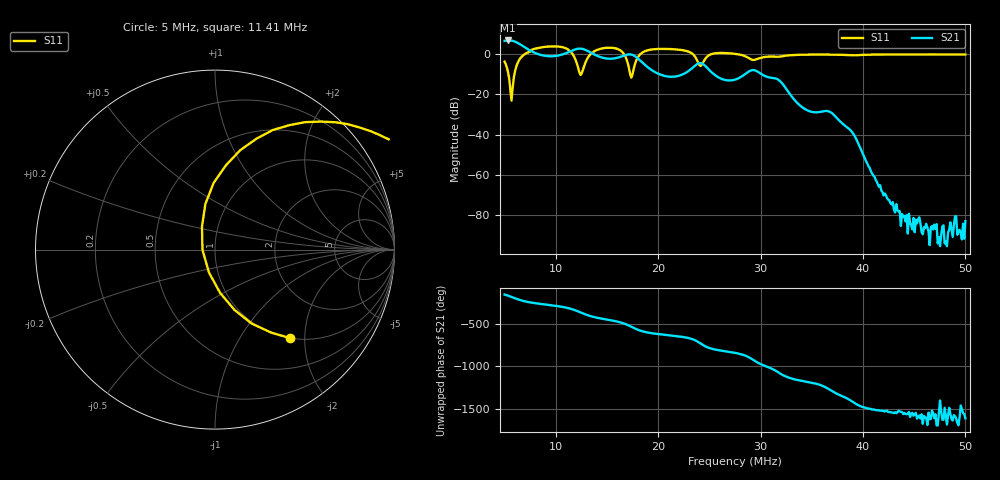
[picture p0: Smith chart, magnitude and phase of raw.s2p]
! S11/S21 only; reverse parameters are placeholders. Device calibration unverified.
! NanoVNA F V2 profile | COM3 | 2026-09-08T12:25:06.9744608-04:00 | device calibration unverified
# HZ S RI R 50
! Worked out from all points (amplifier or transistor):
!   401 points, 5 MHz to 50 MHz, reference 50 ohm
!   highest |S21| = 6.8 dB at 5.338 MHz (marker M1)
!   |S21| within 3 dB of that: start of sweep to 6.848 MHz
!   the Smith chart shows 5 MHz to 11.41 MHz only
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5000000  0.4187 -0.493  -1.929 -0.8966  0 0  0 0
5337500  0.109 -0.3366  -2.133 -0.4387  0 0  0 0
5675000  -0.0699 -0.00127  -2.15 0.1313  0 0  0 0
6350000  0.2305 0.6175  -1.543 1.018  0 0  0 0
7250000  0.8658 0.6603  -0.6255 1.173  0 0  0 0
7812500  0.5876 -1.188  -0.3115 1.069  0 0  0 0
9950000  -0.1888 -1.539  0.2649 0.8541  0 0  0 0
1.1525e7  -0.8805 -0.6431  0.9808 0.6921  0 0  0 0
1.25375e7  0.1084 0.3163  1.327 -0.2587  0 0  0 0
1.3775e7  1.078 -0.4873  0.4751 -0.8491  0 0  0 0
1.58e7  0.4774 -1.31  -0.2304 -0.7531  0 0  0 0
1.72625e7  -0.3154 0.0125  -0.9544 -0.2317  0 0  0 0
1.85e7  1.101 0.1616  -0.4015 0.4439  0 0  0 0
2.0075e7  1.268 -0.4435  -0.0523 0.3156  0 0  0 0
2.3e7  0.7912 -0.8217  0.2335 0.3076  0 0  0 0
2.40125e7  0.3911 -0.3728  0.5958 -0.00156  0 0  0 0
2.75e7  0.8525 -0.5554  -0.1156 -0.2006  0 0  0 0
2.9975e7  0.7234 -0.3389  -0.1122 0.3108  0 0  0 0
3.50375e7  0.7021 -0.6678  -0.0135 -0.034  0 0  0 0
3.88625e7  0.5354 -0.7619  0.00994 0.00709  0 0  0 0
4.2575e7  0.4437 -0.8686  -2.2e-05 -0.000234  0 0  0 0
5e7  0.1621 -0.9618  -7e-05 -1.3e-05  0 0  0 0
